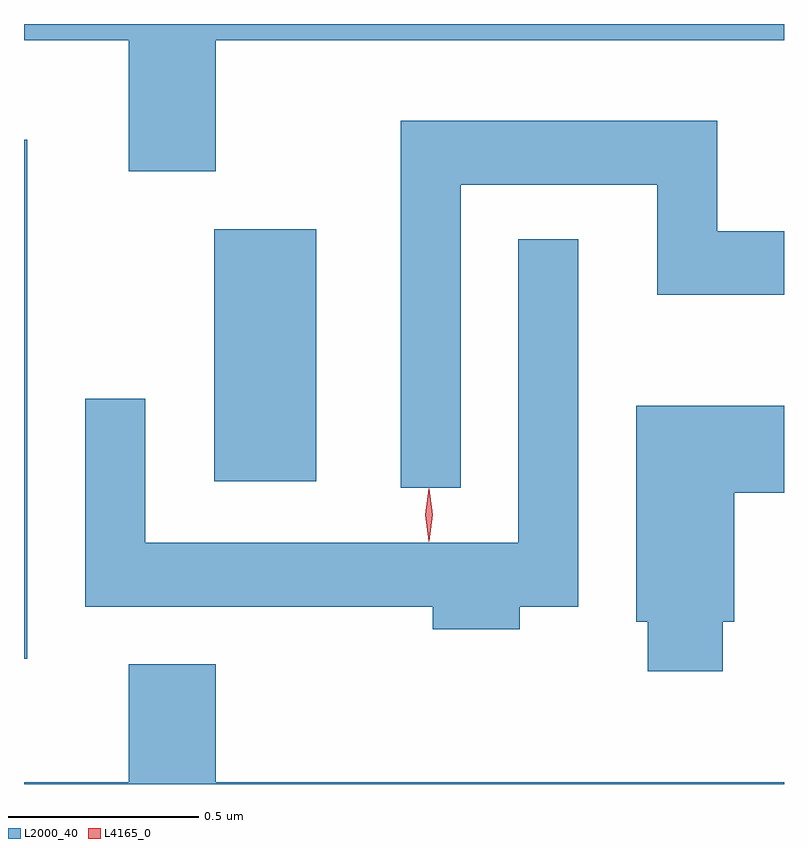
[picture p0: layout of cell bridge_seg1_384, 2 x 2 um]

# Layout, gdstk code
import gdstk
lib = gdstk.Library(unit=1e-6, precision=1e-09)
def R(c, l, rs):  # rectangles x0, y0, x1, y1
    for r in rs: c.add(gdstk.rectangle(r[:2], r[2:], *l))
def P(c, l, *ps):  # polygons
    for p in ps: c.add(gdstk.Polygon(p, *l))
L2000_40 = (2000, 40)
L4165_0 = (4165, 0)

bridge_seg1_384 = lib.new_cell('bridge_seg1_384')
R(bridge_seg1_384, L2000_40, [(880.025,869.088,880.034,870.454), (880.526,869.556,880.794,870.219)])
P(bridge_seg1_384, L2000_40, [(880.529,870.716),(882.025,870.716),(882.025,870.759),(880.025,870.759),(880.025,870.716),(880.301,870.716),(880.301,870.371),(880.529,870.371)],
  [(881.174,870.336),(881.691,870.336),(881.691,870.046),(882.025,870.046),(882.025,870.214),(881.849,870.214),(881.849,870.504),(881.016,870.504),(881.016,869.538),(881.174,869.538)],
  [(881.329,869.226),(881.484,869.226),(881.484,870.193),(881.326,870.193),(881.326,869.394),(880.344,869.394),(880.344,869.773),(880.186,869.773),(880.186,869.226),(881.101,869.226),(881.101,869.166),(881.329,869.166)],
  [(881.864,869.186),(881.894,869.186),(881.894,869.526),(882.025,869.526),(882.025,869.754),(881.636,869.754),(881.636,869.186),(881.666,869.186),(881.666,869.056),(881.864,869.056)],
  [(882.025,868.764),(880.529,868.764),(880.529,869.074),(880.301,869.074),(880.301,868.764),(880.025,868.764),(880.025,868.759),(882.025,868.759)])
P(bridge_seg1_384, L4165_0, [(881.09,869.397),(881.09,869.398),(881.081,869.467),(881.09,869.536),(881.091,869.536),(881.091,869.536),(881.1,869.467),(881.091,869.398)])

lib.write_gds('bridge_seg1_384.gds')
